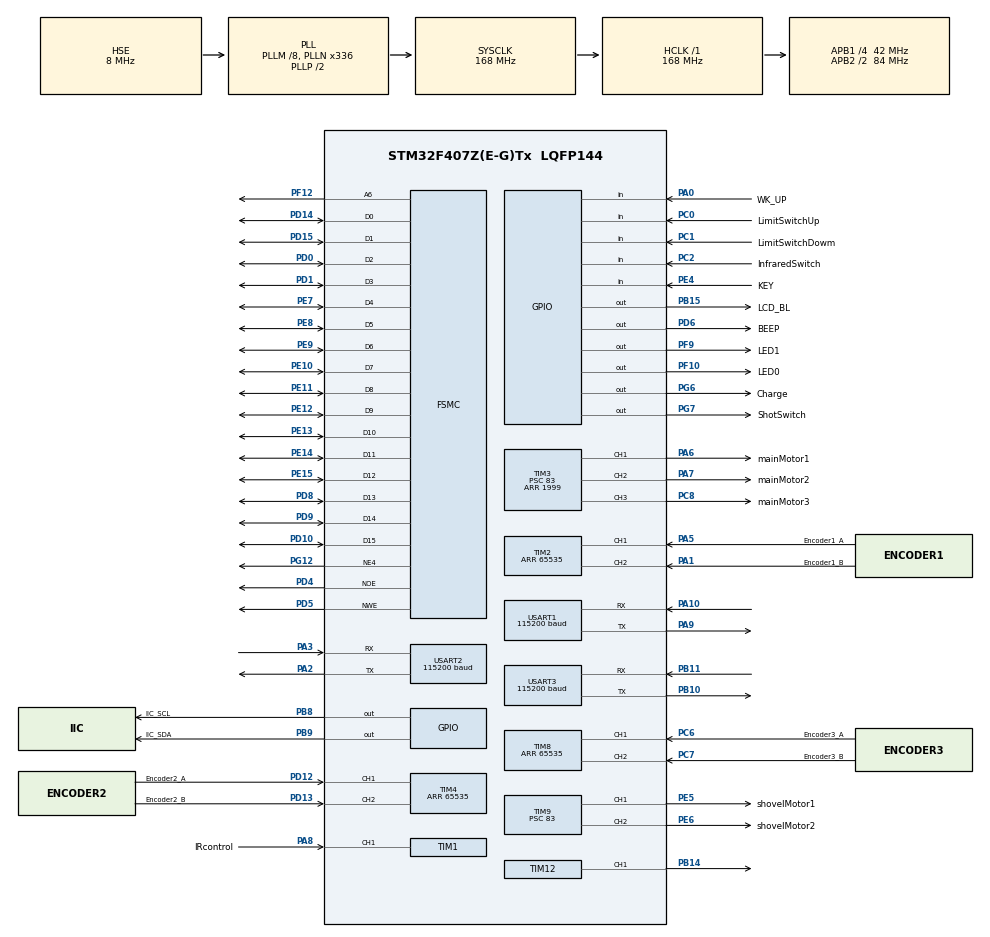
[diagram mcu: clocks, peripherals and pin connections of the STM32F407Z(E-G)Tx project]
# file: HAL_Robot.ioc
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FSMC.AddressSetupTime1=0xf
FSMC.BusTurnAroundDuration1=0
FSMC.DataSetupTime1=60
FSMC.ExtendedAddressSetupTime1=3
FSMC.ExtendedBusTurnAroundDuration1=0
FSMC.ExtendedDataSetupTime1=2
FSMC.ExtendedMode1=FSMC_EXTENDED_MODE_ENABLE
Mcu.Family=STM32F4
Mcu.Name=STM32F407Z(E-G)Tx
Mcu.Package=LQFP144
NVIC.PriorityGroup=NVIC_PRIORITYGROUP_2
NVIC.TIM1_CC_IRQn=true\:0\:1\:true\:false\:true\:true
NVIC.TIM1_UP_TIM10_IRQn=true\:0\:1\:true\:false\:true\:true
NVIC.TIM5_IRQn=true\:1\:3\:true\:false\:true\:true
NVIC.USART1_IRQn=true\:2\:1\:true\:false\:true\:true
NVIC.USART2_IRQn=true\:2\:0\:true\:false\:true\:true
NVIC.USART3_IRQn=true\:2\:2\:true\:false\:true\:true
PA0-WKUP.GPIO_Label=WK_UP
PA0-WKUP.GPIO_PuPd=GPIO_PULLDOWN
PA0-WKUP.Signal=GPIO_Input
PA1.GPIO_Label=Encoder1_B
PA1.GPIO_PuPd=GPIO_PULLDOWN
PA1.GPIO_Speed=GPIO_SPEED_FREQ_HIGH
PA1.Signal=S_TIM2_CH2
PA10.Mode=Asynchronous
PA10.Signal=USART1_RX
PA13.Mode=JTAG_5_pins
PA13.Signal=SYS_JTMS-SWDIO
PA14.Mode=JTAG_5_pins
PA14.Signal=SYS_JTCK-SWCLK
PA15.Mode=JTAG_5_pins
PA15.Signal=SYS_JTDI
PA2.Mode=Asynchronous
PA2.Signal=USART2_TX
PA3.Mode=Asynchronous
PA3.Signal=USART2_RX
PA5.GPIO_Label=Encoder1_A
PA5.GPIO_PuPd=GPIO_PULLDOWN
PA5.GPIO_Speed=GPIO_SPEED_FREQ_HIGH
PA5.Signal=S_TIM2_CH1_ETR
PA6.GPIO_Label=mainMotor1
PA6.GPIO_PuPd=GPIO_PULLUP
PA6.GPIO_Speed=GPIO_SPEED_FREQ_HIGH
PA6.Signal=S_TIM3_CH1
PA7.GPIO_Label=mainMotor2
PA7.GPIO_PuPd=GPIO_PULLUP
PA7.GPIO_Speed=GPIO_SPEED_FREQ_HIGH
PA7.Signal=S_TIM3_CH2
PA8.GPIO_Label=IRcontrol
PA8.GPIO_PuPd=GPIO_PULLUP
PA8.GPIO_Speed=GPIO_SPEED_FREQ_HIGH
PA8.Signal=S_TIM1_CH1
PA9.Mode=Asynchronous
PA9.Signal=USART1_TX
PB10.Mode=Asynchronous
PB10.Signal=USART3_TX
PB11.Mode=Asynchronous
PB11.Signal=USART3_RX
PB14.GPIO_PuPd=GPIO_PULLUP
PB14.GPIO_Speed=GPIO_SPEED_FREQ_HIGH
PB14.Signal=S_TIM12_CH1
PB15.GPIO_Label=LCD_BL
PB15.GPIO_PuPd=GPIO_PULLUP
PB15.GPIO_Speed=GPIO_SPEED_FREQ_HIGH
PB15.Signal=GPIO_Output
PB3.Mode=JTAG_5_pins
PB3.Signal=SYS_JTDO-SWO
PB4.Mode=JTAG_5_pins
PB4.Signal=SYS_JTRST
PB8.GPIO_Label=IIC_SCL
PB8.GPIO_PuPd=GPIO_PULLUP
PB8.GPIO_Speed=GPIO_SPEED_FREQ_HIGH
PB8.Signal=GPIO_Output
PB9.GPIO_Label=IIC_SDA
PB9.GPIO_PuPd=GPIO_PULLUP
PB9.GPIO_Speed=GPIO_SPEED_FREQ_HIGH
PB9.Signal=GPIO_Output
PC0.GPIO_Label=LimitSwitchUp
PC0.GPIO_PuPd=GPIO_PULLUP
PC0.Signal=GPIO_Input
PC1.GPIO_Label=LimitSwitchDowm
PC1.GPIO_PuPd=GPIO_PULLUP
PC1.Signal=GPIO_Input
PC2.GPIO_Label=InfraredSwitch
PC2.GPIO_PuPd=GPIO_PULLUP
PC2.Signal=GPIO_Input
PC6.GPIO_Label=Encoder3_A
PC6.GPIO_Speed=GPIO_SPEED_FREQ_HIGH
PC6.Signal=S_TIM8_CH1
PC7.GPIO_Label=Encoder3_B
PC7.GPIO_Speed=GPIO_SPEED_FREQ_HIGH
PC7.Signal=S_TIM8_CH2
PC8.GPIO_Label=mainMotor3
PC8.GPIO_PuPd=GPIO_PULLUP
PC8.GPIO_Speed=GPIO_SPEED_FREQ_HIGH
PC8.Signal=S_TIM3_CH3
PD0.GPIO_PuPd=GPIO_PULLUP
PD0.Signal=FSMC_D2_DA2
PD1.GPIO_PuPd=GPIO_PULLUP
PD1.Signal=FSMC_D3_DA3
PD10.GPIO_PuPd=GPIO_PULLUP
PD10.Signal=FSMC_D15_DA15
PD12.GPIO_Label=Encoder2_A
PD12.GPIO_Speed=GPIO_SPEED_FREQ_HIGH
PD12.Signal=S_TIM4_CH1
PD13.GPIO_Label=Encoder2_B
PD13.GPIO_Speed=GPIO_SPEED_FREQ_HIGH
PD13.Signal=S_TIM4_CH2
PD14.GPIO_PuPd=GPIO_PULLUP
PD14.Signal=FSMC_D0_DA0
PD15.GPIO_PuPd=GPIO_PULLUP
PD15.Signal=FSMC_D1_DA1
PD4.GPIO_PuPd=GPIO_PULLUP
PD4.Signal=FSMC_NOE
PD5.GPIO_PuPd=GPIO_PULLUP
PD5.Signal=FSMC_NWE
PD6.GPIO_Label=BEEP
PD6.GPIO_PuPd=GPIO_PULLUP
PD6.GPIO_Speed=GPIO_SPEED_FREQ_HIGH
PD6.Signal=GPIO_Output
PD8.GPIO_PuPd=GPIO_PULLUP
PD8.Signal=FSMC_D13_DA13
PD9.GPIO_PuPd=GPIO_PULLUP
PD9.Signal=FSMC_D14_DA14
PE10.GPIO_PuPd=GPIO_PULLUP
PE10.Signal=FSMC_D7_DA7
PE11.GPIO_PuPd=GPIO_PULLUP
PE11.Signal=FSMC_D8_DA8
PE12.GPIO_PuPd=GPIO_PULLUP
PE12.Signal=FSMC_D9_DA9
PE13.GPIO_PuPd=GPIO_PULLUP
PE13.Signal=FSMC_D10_DA10
PE14.GPIO_PuPd=GPIO_PULLUP
PE14.Signal=FSMC_D11_DA11
PE15.GPIO_PuPd=GPIO_PULLUP
PE15.Signal=FSMC_D12_DA12
PE4.GPIO_Label=KEY
PE4.Signal=GPIO_Input
PE5.GPIO_Label=shovelMotor1
PE5.GPIO_PuPd=GPIO_PULLUP
PE5.GPIO_Speed=GPIO_SPEED_FREQ_HIGH
PE5.Signal=S_TIM9_CH1
PE6.GPIO_Label=shovelMotor2
PE6.GPIO_PuPd=GPIO_PULLUP
PE6.GPIO_Speed=GPIO_SPEED_FREQ_HIGH
PE6.Signal=S_TIM9_CH2
PE7.GPIO_PuPd=GPIO_PULLUP
PE7.Signal=FSMC_D4_DA4
PE8.GPIO_PuPd=GPIO_PULLUP
PE8.Signal=FSMC_D5_DA5
PE9.GPIO_PuPd=GPIO_PULLUP
PE9.Signal=FSMC_D6_DA6
PF10.GPIO_Label=LED0
PF10.GPIO_PuPd=GPIO_PULLUP
PF10.GPIO_Speed=GPIO_SPEED_FREQ_HIGH
PF10.Signal=GPIO_Output
PF12.GPIO_PuPd=GPIO_PULLUP
PF12.Signal=FSMC_A6
PF9.GPIO_Label=LED1
PF9.GPIO_PuPd=GPIO_PULLUP
PF9.GPIO_Speed=GPIO_SPEED_FREQ_HIGH
PF9.Signal=GPIO_Output
PG12.GPIO_PuPd=GPIO_PULLUP
PG12.Mode=NorPsramChipSelect4_1
PG12.Signal=FSMC_NE4
PG6.GPIO_Label=Charge
PG6.GPIO_PuPd=GPIO_PULLUP
PG6.GPIO_Speed=GPIO_SPEED_FREQ_HIGH
PG6.Signal=GPIO_Output
PG7.GPIO_Label=ShotSwitch
PG7.GPIO_PuPd=GPIO_PULLUP
PG7.GPIO_Speed=GPIO_SPEED_FREQ_HIGH
PG7.Signal=GPIO_Output
PH0-OSC_IN.Mode=HSE-External-Oscillator
PH0-OSC_IN.Signal=RCC_OSC_IN
PH1-OSC_OUT.Mode=HSE-External-Oscillator
PH1-OSC_OUT.Signal=RCC_OSC_OUT
ProjectManager.HeapSize=0x200
ProjectManager.StackSize=0x400
ProjectManager.TargetToolchain=MDK-ARM V5
RCC.48MHZClocksFreq_Value=84000000
RCC.AHBFreq_Value=168000000
RCC.APB1CLKDivider=RCC_HCLK_DIV4
RCC.APB1Freq_Value=42000000
RCC.APB1TimFreq_Value=84000000
RCC.APB2CLKDivider=RCC_HCLK_DIV2
RCC.APB2Freq_Value=84000000
RCC.APB2TimFreq_Value=168000000
RCC.CortexFreq_Value=168000000
RCC.HCLKFreq_Value=168000000
RCC.HSE_VALUE=8000000
RCC.HSI_VALUE=16000000
RCC.LSE_VALUE=32768
RCC.PLLM=8
RCC.PLLN=336
RCC.PLLSourceVirtual=RCC_PLLSOURCE_HSE
RCC.SYSCLKFreq_VALUE=168000000
RCC.SYSCLKSource=RCC_SYSCLKSOURCE_PLLCLK
RCC.VCOOutputFreq_Value=336000000
SH.FSMC_A6.0=FSMC_A6,A6_1
SH.FSMC_D0_DA0.0=FSMC_D0,16b-d1
SH.FSMC_D10_DA10.0=FSMC_D10,16b-d1
SH.FSMC_D11_DA11.0=FSMC_D11,16b-d1
SH.FSMC_D12_DA12.0=FSMC_D12,16b-d1
SH.FSMC_D13_DA13.0=FSMC_D13,16b-d1
SH.FSMC_D14_DA14.0=FSMC_D14,16b-d1
SH.FSMC_D15_DA15.0=FSMC_D15,16b-d1
SH.FSMC_D1_DA1.0=FSMC_D1,16b-d1
SH.FSMC_D2_DA2.0=FSMC_D2,16b-d1
SH.FSMC_D3_DA3.0=FSMC_D3,16b-d1
SH.FSMC_D4_DA4.0=FSMC_D4,16b-d1
SH.FSMC_D5_DA5.0=FSMC_D5,16b-d1
SH.FSMC_D6_DA6.0=FSMC_D6,16b-d1
SH.FSMC_D7_DA7.0=FSMC_D7,16b-d1
SH.FSMC_D8_DA8.0=FSMC_D8,16b-d1
SH.FSMC_D9_DA9.0=FSMC_D9,16b-d1
SH.FSMC_NOE.0=FSMC_NOE,Lcd1
SH.FSMC_NWE.0=FSMC_NWE,Lcd1
SH.S_TIM12_CH1.0=TIM12_CH1,Output Compare1 CH1
SH.S_TIM1_CH1.0=TIM1_CH1,Input_Capture1_from_TI1
SH.S_TIM2_CH1_ETR.0=TIM2_CH1,Encoder_Interface
SH.S_TIM2_CH2.0=TIM2_CH2,Encoder_Interface
SH.S_TIM3_CH1.0=TIM3_CH1,PWM Generation1 CH1
SH.S_TIM3_CH2.0=TIM3_CH2,PWM Generation2 CH2
SH.S_TIM3_CH3.0=TIM3_CH3,PWM Generation3 CH3
SH.S_TIM4_CH1.0=TIM4_CH1,Encoder_Interface
SH.S_TIM4_CH2.0=TIM4_CH2,Encoder_Interface
SH.S_TIM8_CH1.0=TIM8_CH1,Encoder_Interface
SH.S_TIM8_CH2.0=TIM8_CH2,Encoder_Interface
SH.S_TIM9_CH1.0=TIM9_CH1,PWM Generation1 CH1
SH.S_TIM9_CH2.0=TIM9_CH2,PWM Generation2 CH2
TIM1.Channel-Input_Capture1_from_TI1=TIM_CHANNEL_1
TIM1.ICFilter_CH1=3
TIM1.Period=10000
TIM1.Prescaler=167
TIM12.Channel-Output\ Compare1\ CH1=TIM_CHANNEL_1
TIM12.Period=41
TIM2.EncoderMode=TIM_ENCODERMODE_TI12
TIM2.IC1Filter=5
TIM2.IC2Filter=5
TIM2.Period=65535
TIM3.Channel-PWM\ Generation1\ CH1=TIM_CHANNEL_1
TIM3.Channel-PWM\ Generation2\ CH2=TIM_CHANNEL_2
TIM3.Channel-PWM\ Generation3\ CH3=TIM_CHANNEL_3
TIM3.OCPolarity_1=TIM_OCPOLARITY_HIGH
TIM3.OCPolarity_2=TIM_OCPOLARITY_HIGH
TIM3.OCPolarity_3=TIM_OCPOLARITY_HIGH
TIM3.Period=1999
TIM3.Prescaler=83
TIM4.EncoderMode=TIM_ENCODERMODE_TI12
TIM4.IC1Filter=5
TIM4.IC2Filter=5
TIM4.Period=65535
TIM5.Period=9999
TIM5.Prescaler=83
TIM8.EncoderMode=TIM_ENCODERMODE_TI12
TIM8.IC1Filter=5
TIM8.IC2Filter=5
TIM8.Period=65535
TIM9.Channel-PWM\ Generation1\ CH1=TIM_CHANNEL_1
TIM9.Channel-PWM\ Generation2\ CH2=TIM_CHANNEL_2
TIM9.OCPolarity_1=TIM_OCPOLARITY_HIGH
TIM9.OCPolarity_2=TIM_OCPOLARITY_HIGH
TIM9.Period=3999
TIM9.Prescaler=83
USART1.BaudRate=115200
USART1.VirtualMode=VM_ASYNC
USART2.BaudRate=115200
USART2.VirtualMode=VM_ASYNC
USART3.BaudRate=115200
USART3.VirtualMode=VM_ASYNC
VP_TIM1_VS_ClockSourceINT.Mode=Internal
VP_TIM5_VS_ClockSourceINT.Mode=Internal
VP_TIM9_VS_ClockSourceINT.Mode=Internal
board=HAL_Robot

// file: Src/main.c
/**
  ******************************************************************************
  * @file           : main.c
  * @brief          : Main program body
  ******************************************************************************
  ** This notice applies to any and all portions of this file
  * that are not between comment pairs USER CODE BEGIN and
  * USER CODE END. Other portions of this file, whether
  * inserted by the user or by software development tools
  * are owned by their respective copyright owners.
  *
  * COPYRIGHT(c) 2018 STMicroelectronics
  *
  * Redistribution and use in source and binary forms, with or without modification,
  * are permitted provided that the following conditions are met:
  *   1. Redistributions of source code must retain the above copyright notice,
  *      this list of conditions and the following disclaimer.
  *   2. Redistributions in binary form must reproduce the above copyright notice,
  *      this list of conditions and the following disclaimer in the documentation
  *      and/or other materials provided with the distribution.
  *   3. Neither the name of STMicroelectronics nor the names of its contributors
  *      may be used to endorse or promote products derived from this software
  *      without specific prior written permission.
  *
  * THIS SOFTWARE IS PROVIDED BY THE COPYRIGHT HOLDERS AND CONTRIBUTORS "AS IS"
  * AND ANY EXPRESS OR IMPLIED WARRANTIES, INCLUDING, BUT NOT LIMITED TO, THE
  * IMPLIED WARRANTIES OF MERCHANTABILITY AND FITNESS FOR A PARTICULAR PURPOSE ARE
  * DISCLAIMED. IN NO EVENT SHALL THE COPYRIGHT HOLDER OR CONTRIBUTORS BE LIABLE
  * FOR ANY DIRECT, INDIRECT, INCIDENTAL, SPECIAL, EXEMPLARY, OR CONSEQUENTIAL
  * DAMAGES (INCLUDING, BUT NOT LIMITED TO, PROCUREMENT OF SUBSTITUTE GOODS OR
  * SERVICES; LOSS OF USE, DATA, OR PROFITS; OR BUSINESS INTERRUPTION) HOWEVER
  * CAUSED AND ON ANY THEORY OF LIABILITY, WHETHER IN CONTRACT, STRICT LIABILITY,
  * OR TORT (INCLUDING NEGLIGENCE OR OTHERWISE) ARISING IN ANY WAY OUT OF THE USE
  * OF THIS SOFTWARE, EVEN IF ADVISED OF THE POSSIBILITY OF SUCH DAMAGE.
  *
  ******************************************************************************
  */
#include "main.h"
#include "stm32f4xx_hal.h"
#include "dma.h"
#include "tim.h"
#include "usart.h"
#include "gpio.h"
#include "fsmc.h"

/* USER CODE BEGIN Includes */
#include "control.h"
/* USER CODE END Includes */

/* USER CODE BEGIN PV */
/* Private variables ---------------------------------------------------------*/

/* USER CODE END PV */

void SystemClock_Config(void);

/* USER CODE BEGIN PFP */
/* Private function prototypes -----------------------------------------------*/

/* USER CODE END PFP */

/* USER CODE BEGIN 0 */
	u8 zhongquan_case;
	u8 changdi;
	u8 chengxu;
	u8 sanfen_case;
/* USER CODE END 0 */

int main(void)
{
  /* USER CODE BEGIN 1 */
	u8 key = 0;					//按键值
	//u8 chengxu = 0;				//程序选择
	u8 flag=0;
	u8 qiu = 0;				//找球

	u8 findballtime = 0;			//找球时调整角度次数
	u8 i;
  /* USER CODE END 1 */

  /* MCU Configuration----------------------------------------------------------*/

  /* Reset of all peripherals, Initializes the Flash interface and the Systick. */
  HAL_Init();

  /* Configure the system clock */
  SystemClock_Config();

  /* USER CODE BEGIN SysInit */
	delay_init(168);
  /* USER CODE END SysInit */

  /* Initialize all configured peripherals */
  MX_GPIO_Init();
  MX_DMA_Init();
  MX_USART2_UART_Init();
  MX_USART3_UART_Init();
  MX_TIM9_Init();
  MX_TIM3_Init();
  MX_TIM8_Init();
  MX_TIM2_Init();
  MX_TIM4_Init();
  MX_TIM1_Init();
  MX_FSMC_Init();
  MX_TIM12_Init();
  MX_TIM5_Init();
  MX_USART1_UART_Init();
  /* USER CODE BEGIN 2 */
	LCD_Init();
	LCD_Show_Title();
	Control_Init();
	IMU_Init();
  /* USER CODE END 2 */

  /* Infinite loop */
  /* USER CODE BEGIN WHILE */
	LED0 =1;
	LED1 =1;

  while (1)
  {

	    key = Remote_Scan();
		flag = 0;
		key = 0;
		chengxu = 0;
	    changdi = 0;
		//选择程序
		while(1)
		{
//			printf("%x  \r\n",huart2.RxState);
//			printf("errr%x  \n",huart2.ErrorCode);
//			delay_ms(100);
			LCD_ShowString(30+200,400,200,16,16,"chengxu:");
			key = Remote_Scan();
			//key = KEY_Scan(0);
			switch(key)
			{
				case 0:		//没有按键按下

					break;
				case KEY_RIGHT:		//右
					LCD_ShowString(30+200,400,200,16,16,"qiu:    ");
					flag = 1;
					break;
				case KEY_DOWN:		//下
					LCD_ShowString(30+200,400,200,16,16,"chengxu-");
					if(chengxu != 0)
						chengxu--;
					break;
				case KEY_LEFT:		//左
					LCD_ShowString(30+200,400,200,16,16,"clear   ");
					chengxu = 0;
					break;
				case KEY_UP:		//上
					LCD_ShowString(30+200,400,200,16,16,"chengxu+");
					chengxu++;
					break;
			}

			LCD_ShowNum(30+200+48+8+10,320,chengxu,4,16);

			if(flag)
				break;
		}

		flag = 0;
		key = 0;

		//选择球
		while(1)
		{
			key = Remote_Scan();
			//key = KEY_Scan(0);
			switch(key)
			{
				case 0:		//没有按键按下

					break;
				case KEY_RIGHT:		//右
					LCD_ShowString(30+200,400,200,16,16,"changdi   ");
					flag = 1;
					break;
				case KEY_DOWN:		//下
					LCD_ShowString(30+200,400,200,16,16,"qiu-");
					if(qiu != 0)
						qiu--;
					break;
				case KEY_LEFT:		//左
					LCD_ShowString(30+200,400,200,16,16,"clear   ");
					qiu = 0;
					break;
				case KEY_UP:		//上
					LCD_ShowString(30+200,400,200,16,16,"qiu+");
					qiu++;
					break;

			}

			LCD_ShowNum(30+200+48+8+10,340,qiu,4,16);

			if(flag)
				break;
		}

		flag = 0;
		key = 0;
		while(1)
		{
			key = Remote_Scan();
			switch(key)
			{
				case 0:		//没有按键按下
					break;
				case KEY_RIGHT:		//右
					LCD_ShowString(30+200,400,200,16,16,"start   ");
					flag = 1;
					break;
				case KEY_DOWN:		//下
					LCD_ShowString(30+200,400,200,16,16,"changdi-");
					if(changdi != 0)
						changdi--;
					break;
				case KEY_LEFT:		//左
					LCD_ShowString(30+200,400,200,16,16,"clear   ");
					changdi=0;
					break;
				case KEY_UP:		//上
					LCD_ShowString(30+200,400,200,16,16,"changdi+");
					changdi++;
					break;
				case KEY_POWER:
					flag = 1;
					chengxu = 99;
					break;
			}

			LCD_ShowNum(30+200+48+8+10,360,changdi,4,16);

			if(flag)
				break;
		}

  /* USER CODE END WHILE */

  /* USER CODE BEGIN 3 */
		while(1){
		switch(chengxu)
		{
			case 0:	    	//测试程序
				switch(qiu)
				{
//					case 0:
//						RobotRotate(180);
//						//printf("err\r\n");
//						//顺时针180°
//						break;
//					case 1:
//						//机械臂下降
//						Robot_armDown();
////						2高电平往下，接红线，正转
////						__HAL_TIM_SET_COMPARE(&htim9,TIM_CHANNEL_1,300);
////						__HAL_TIM_SET_COMPARE(&htim9,TIM_CHANNEL_2,4000);
//						LED0 = !LED0;
//						break;
//					case 2:
//						//机械臂上升
//						Robot_armUp();
//						LED0 = !LED0;
//						break;
//					case 3:
//						//红外测试
//						GetInfraredState();
//						LED0 = !LED0;
//						break;
//					case 4:
//						//限位开关测试6
//						if(LimitSwitchDowm == 1)
//							LED1 = 0;
//						else
//							LED1 = 1;
//						if(LimitSwitchUp == 1)
//							LED0 = 0;
//						else
//							LED0 = 1;
//						break;
//					case 5:
//						//避障测试
//						RobotGoAvoidance();
//						LED0 = !LED0;
//						break;
//					case 6:
//						//视觉测试
//						FindBall_vision(qiu);
//						LED0 = !LED0;
//						break;
					case 1:
						RobotGoTo(0,2,0);
//						RobotRotate(0);
//					  RobotGoTo(3,2,0);
//						RobotGoTo(3,3.5,0);
//						RobotGoTo(0,2,-110);
//						RobotGoTo(0,0,0);
						break;
				}
				break;
			case 1:			//传球第一回合
				switch(changdi)
				{
					case 0:			//上场
						//延时10s
						for(i = 0 ;i <10;i++){
							SetPWM(0,0,0);
							delay_ms(1000);
						}

						RobotGoTo(0.0-Correction_X,2.0+Correction_Y,-110);
						if(!DownShotUp())
							break;
						RobotRotate(0.0);
						FindBall_VandR(qiu);

						//判断是否找到球，如果没有
						if(findballtime==0){			//没找到球
							RobotGoTo(-3.0-Correction_X,2.0+Correction_Y,0);
							FindBall_VandR(qiu);
						}

						RobotGoTo(0-Correction_X,2+Correction_Y,-110);

						if(!DownShotUp())
							break;

						RobotGoTo(0,1+Correction_Y,-180);

						//加视觉找框回位
						break;
					case 1:			//下场
						//延时10s
						for(i = 0 ;i <10;i++){
							SetPWM(0,0,0);
							delay_ms(1000);
						}

						RobotGoTo(0+Correction_X,2+Correction_Y,110);
						if(!DownShotUp())
							break;
						RobotRotate(0);
						FindBall_VandR(qiu);

						//判断是否找到球，如果没有
						if(findballtime==0){			//没找到球
							RobotGoTo(3+Correction_X,2+Correction_Y,0);
							FindBall_VandR(qiu);
						}

						RobotGoTo(0+Correction_X,2+Correction_Y,110);

						if(!DownShotUp())
							break;

						RobotGoTo(0,1+Correction_Y,180);

						//加视觉找框回位
						break;
				}
				break;
			case 2:			//传球第二回合
				switch(changdi)
				{
					case 0:			//上场
						RobotGoTo(0-Correction_X,2+Correction_Y,0);
						FindBall_VandR(qiu);

						//判断是否找到球，如果没有
						if(findballtime==0){		//没找到球
							RobotGoTo(-3-Correction_X,2+Correction_Y,0);
							FindBall_VandR(qiu);
						}

						RobotGoTo(-6-Correction_X,2+Correction_Y,0);
						RobotGoTo(-6-Correction_X,4+Correction_Y,-210);

						if(!DownShotUp())
							break;

						RobotGoTo(-5-Correction_X,2+Correction_Y,-45);
						FindBall_VandR(qiu);
						RobotGoTo(-6-Correction_X,4+Correction_Y,-210);

						if(!DownShotUp())
							break;

						RobotGoTo(0,1+Correction_Y,-180);

						//加视觉找框回位
						break;
					case 1:			//下场
						RobotGoTo(0+Correction_X,2+Correction_Y,0);
						FindBall_VandR(qiu);

						//判断是否找到球，如果没有
						if(findballtime==0){		//没找到球
							RobotGoTo(3+Correction_X,2+Correction_Y,0);
							FindBall_VandR(qiu);
						}

						RobotGoTo(6+Correction_X,2+Correction_Y,0);
						RobotGoTo(6+Correction_X,4+Correction_Y,210);

						if(!DownShotUp())
							break;

						RobotGoTo(5+Correction_X,2+Correction_Y,45);
						FindBall_VandR(qiu);
						RobotGoTo(6+Correction_X,4+Correction_Y,210);

						if(!DownShotUp())
							break;

						RobotGoTo(0+Correction_X,1+Correction_Y,180);

						//加视觉找框回位
						break;
				}
				break;
			case 3:			//传球第三回合
				switch(changdi)
				{
					case 0:			//上场
						RobotGoTo(-5-Correction_X,2+Correction_Y,-45);
						FindBall_VandR(qiu);

						//记录铲球点A的位置
						BasketballRobot.PX=BasketballRobot.X;
						BasketballRobot.PY=BasketballRobot.Y;

						RobotGoTo(-5-Correction_X,2+Correction_Y,-45);
						RobotGoTo(-6-Correction_X,4+Correction_Y,-210);
						if(!DownShotUp())
							break;

						//原路返回
						RobotGoTo(-5-Correction_X,2+Correction_Y,-45);
						RobotGoTo(BasketballRobot.PX-Correction_X,BasketballRobot.PY+Correction_Y,-210);

						RobotGoTo(-6.75-Correction_X,2+Correction_Y,-90);
						//FindBall_VandR(qiu);
						FindBall_radar();

						//原路返回
						RobotGoTo(BasketballRobot.PX-Correction_X,BasketballRobot.PY+Correction_Y,-210);
						RobotGoTo(-5-Correction_X,2+Correction_Y,-45);

						RobotGoTo(-6-Correction_X,4+Correction_Y,-210);
						if(!DownShotUp())
							break;

						RobotGoTo(0-Correction_X,1+Correction_Y,-180);

						//加视觉找框回位
						break;
					case 1:			//下场
						RobotGoTo(5+Correction_X,2+Correction_Y,45);
						FindBall_VandR(qiu);

						//记录铲球点A的位置
						BasketballRobot.PX=BasketballRobot.X;
						BasketballRobot.PY=BasketballRobot.Y;

						RobotGoTo(5+Correction_X,2+Correction_Y,45);
						RobotGoTo(6+Correction_X,4+Correction_Y,210);
						if(!DownShotUp())
							break;

						//原路返回
						RobotGoTo(5+Correction_X,2+Correction_Y,45);
						RobotGoTo(BasketballRobot.PX+Correction_X,BasketballRobot.PY+Correction_Y,210);

						RobotGoTo(6.75+Correction_X,2+Correction_Y,90);
						//FindBall_VandR(qiu);
						FindBall_radar();

						//原路返回
						RobotGoTo(BasketballRobot.PX+Correction_X,BasketballRobot.PY+Correction_Y,210);
						RobotGoTo(5+Correction_X,2+Correction_Y,45);

						RobotGoTo(6+Correction_X,4+Correction_Y,210);
						if(!DownShotUp())
							break;

						RobotGoTo(0+Correction_X,1+Correction_Y,180);

						//加视觉找框回位
						break;
				}
				break;
			case 4:			//投篮第一回合
				switch(changdi)
				{
					case 0:			//上场
						RobotGoTo(-4-Correction_X,3.7+Correction_Y,-90);

						//雷达找框
						FindBasketry();

						if(!DownShotUp())
							break;

						RobotGoTo(0-Correction_X,2+Correction_Y,0);
						FindBall_VandR(qiu);

						//判断是否找到球，如果没有
						if(findballtime==0){		//没找到球
							RobotGoTo(-3-Correction_X,2+Correction_Y,0);
							FindBall_VandR(qiu);
						}

						RobotGoTo(-9-Correction_X,3.7+Correction_Y,-90);

						//雷达找框
						FindBasketry();

						if(!DownShotUp())
							break;
						break;
					case 1:			//下场
						RobotGoTo(4+Correction_X,3.7+Correction_Y,90);

						//雷达找框
						FindBasketry();

						if(!DownShotUp())
							break;

						RobotGoTo(0+Correction_X,2+Correction_Y,0);
						FindBall_VandR(qiu);

						//判断是否找到球，如果没有
						if(findballtime==0){		//没找到球
							RobotGoTo(3+Correction_X,2+Correction_Y,0);
							FindBall_VandR(qiu);
						}

						RobotGoTo(9+Correction_X,3.7+Correction_Y,90);

						//雷达找框
						FindBasketry();

						if(!DownShotUp())
							break;
						break;
				}
				break;
			case 5:			//投篮第二回合
				switch(changdi)
				{
					case 0:			//上场
						RobotGoTo(-5-Correction_X,2+Correction_Y,-45);
						FindBall_VandR(qiu);

						//记录铲球点A的位置
						BasketballRobot.PX=BasketballRobot.X;
						BasketballRobot.PY=BasketballRobot.Y;

						RobotGoTo(-9-Correction_X,3.7+Correction_Y,-90);

						//雷达找框
						FindBasketry();

						if(!DownShotUp())
							break;

						//RobotGoTo(A);
						RobotGoTo(BasketballRobot.PX-Correction_X,BasketballRobot.PY+Correction_Y,-90);

						RobotGoTo(0-Correction_X,2+Correction_Y,0);
						FindBall_VandR(qiu);

						//判断是否找到球，如果没有
						if(findballtime==0){		//没找到球
							RobotGoTo(-3-Correction_X,2+Correction_Y,0);
							FindBall_VandR(qiu);
						}

						RobotGoTo(BasketballRobot.PX-Correction_X,BasketballRobot.PY+Correction_Y,0);
						RobotGoTo(-9-Correction_X,3.7+Correction_Y,-90);

						//雷达找框
						FindBasketry();

						if(!DownShotUp())
							break;
						break;
					case 1:			//下场
						RobotGoTo(5+Correction_X,2+Correction_Y,45);
						FindBall_VandR(qiu);

						//记录铲球点A的位置
						BasketballRobot.PX=BasketballRobot.X;
						BasketballRobot.PY=BasketballRobot.Y;

						RobotGoTo(9+Correction_X,3.7+Correction_Y,90);

						//雷达找框
						FindBasketry();

						if(!DownShotUp())
							break;

						//RobotGoTo(A);
						RobotGoTo(BasketballRobot.PX+Correction_X,BasketballRobot.PY+Correction_Y,90);

						RobotGoTo(0+Correction_X,2+Correction_Y,0);
						FindBall_VandR(qiu);

						//判断是否找到球，如果没有
						if(findballtime==0){		//没找到球
							RobotGoTo(3+Correction_X,2+Correction_Y,0);
							FindBall_VandR(qiu);
						}

						RobotGoTo(BasketballRobot.PX+Correction_X,BasketballRobot.PY+Correction_Y,0);
						RobotGoTo(9+Correction_X,3.7+Correction_Y,90);

						//雷达找框
						FindBasketry();

						if(!DownShotUp())
							break;
						break;
				}
				break;
			case 6:			//投篮第三回合
				switch(changdi)
				{
					case 0:			//上场
						RobotGoTo(-5-Correction_X,2-Correction_Y,-30);
						FindBall_VandR(qiu);

						RobotRotate(-90);
						RobotGoTo(-9-Correction_X,3.7+Correction_Y,-90);

						//雷达找框
						FindBasketry();

						if(!DownShotUp())
							break;

						RobotRotate(-240);
						FindBall_VandR(qiu);
						RobotGoTo(-9-Correction_X,3.7+Correction_Y,-90);

						//雷达找框
						FindBasketry();

						if(!DownShotUp())
							break;
						break;
					case 1:			//下场
						RobotGoTo(5+Correction_X,2+Correction_Y,30);
						FindBall_VandR(qiu);

						RobotRotate(90);
						RobotGoTo(9.0f+Correction_X,3.7+Correction_Y,90);

						//雷达找框
						FindBasketry();

						if(!DownShotUp())
							break;

						RobotRotate(240);
						FindBall_VandR(qiu);
						RobotGoTo(9+Correction_X,3.7+Correction_Y,90);

						//雷达找框
						FindBasketry();

						if(!DownShotUp())
							break;
						break;
				}
				break;

		}

	}

  }
  /* USER CODE END 3 */

}

void SystemClock_Config(void)
{

  RCC_OscInitTypeDef RCC_OscInitStruct;
  RCC_ClkInitTypeDef RCC_ClkInitStruct;

    /**Configure the main internal regulator output voltage
    */
  __HAL_RCC_PWR_CLK_ENABLE();

  __HAL_PWR_VOLTAGESCALING_CONFIG(PWR_REGULATOR_VOLTAGE_SCALE1);

    /**Initializes the CPU, AHB and APB busses clocks
    */
  RCC_OscInitStruct.OscillatorType = RCC_OSCILLATORTYPE_HSE;
  RCC_OscInitStruct.HSEState = RCC_HSE_ON;
  RCC_OscInitStruct.PLL.PLLState = RCC_PLL_ON;
  RCC_OscInitStruct.PLL.PLLSource = RCC_PLLSOURCE_HSE;
  RCC_OscInitStruct.PLL.PLLM = 8;
  RCC_OscInitStruct.PLL.PLLN = 336;
  RCC_OscInitStruct.PLL.PLLP = RCC_PLLP_DIV2;
  RCC_OscInitStruct.PLL.PLLQ = 4;
  if (HAL_RCC_OscConfig(&RCC_OscInitStruct) != HAL_OK)
  {
    _Error_Handler(__FILE__, __LINE__);
  }

    /**Initializes the CPU, AHB and APB busses clocks
    */
  RCC_ClkInitStruct.ClockType = RCC_CLOCKTYPE_HCLK|RCC_CLOCKTYPE_SYSCLK
                              |RCC_CLOCKTYPE_PCLK1|RCC_CLOCKTYPE_PCLK2;
  RCC_ClkInitStruct.SYSCLKSource = RCC_SYSCLKSOURCE_PLLCLK;
  RCC_ClkInitStruct.AHBCLKDivider = RCC_SYSCLK_DIV1;
  RCC_ClkInitStruct.APB1CLKDivider = RCC_HCLK_DIV4;
  RCC_ClkInitStruct.APB2CLKDivider = RCC_HCLK_DIV2;

  if (HAL_RCC_ClockConfig(&RCC_ClkInitStruct, FLASH_LATENCY_5) != HAL_OK)
  {
    _Error_Handler(__FILE__, __LINE__);
  }

    /**Configure the Systick interrupt time
    */
  HAL_SYSTICK_Config(HAL_RCC_GetHCLKFreq()/1000);

    /**Configure the Systick
    */
  HAL_SYSTICK_CLKSourceConfig(SYSTICK_CLKSOURCE_HCLK);

  /* SysTick_IRQn interrupt configuration */
  HAL_NVIC_SetPriority(SysTick_IRQn, 0, 0);
}

void _Error_Handler(char *file, int line)
{
  while(1)
  {
  }
}

/************************ (C) COPYRIGHT STMicroelectronics *****END OF FILE****/
